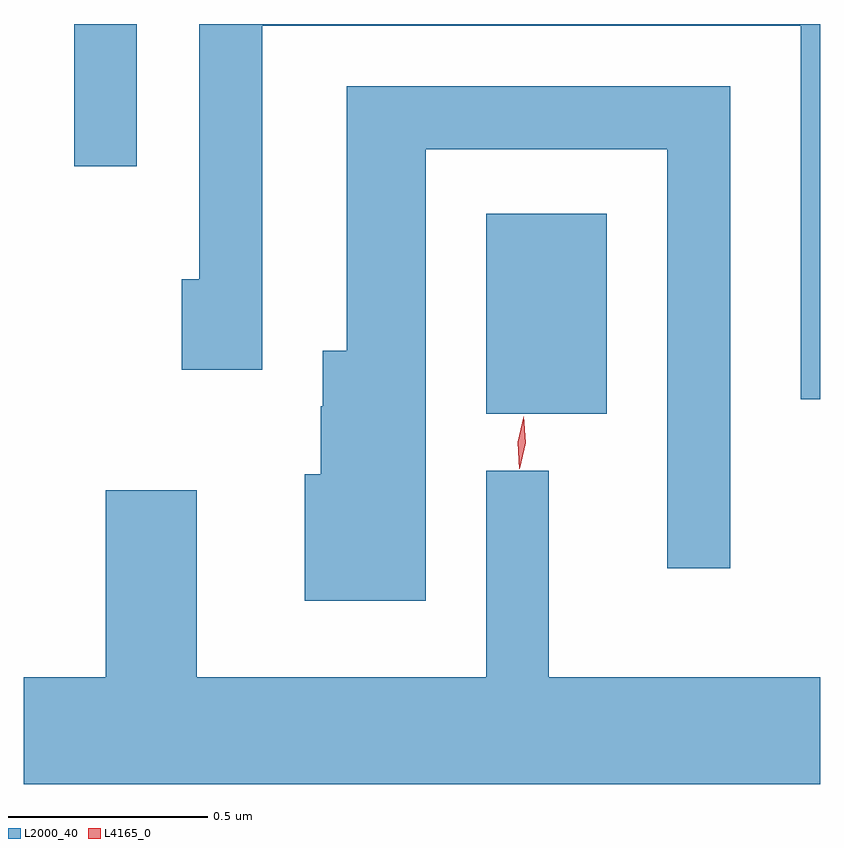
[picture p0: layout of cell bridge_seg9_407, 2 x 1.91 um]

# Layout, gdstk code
import gdstk
lib = gdstk.Library(unit=1e-6, precision=1e-09)
def R(c, l, rs):  # rectangles x0, y0, x1, y1
    for r in rs: c.add(gdstk.rectangle(r[:2], r[2:], *l))
def P(c, l, *ps):  # polygons
    for p in ps: c.add(gdstk.Polygon(p, *l))
L2000_40 = (2000, 40)
L4165_0 = (4165, 0)

bridge_seg9_407 = lib.new_cell('bridge_seg9_407')
R(bridge_seg9_407, L2000_40, [(1017.436,1957.226,1017.739,1957.729), (1016.401,1957.848,1016.559,1958.205)])
P(bridge_seg9_407, L2000_40, [(1018.275,1958.205),(1016.716,1958.205),(1016.716,1957.564),(1016.671,1957.564),(1016.671,1957.336),(1016.874,1957.336),(1016.874,1958.201),(1018.226,1958.201),(1018.226,1957.263),(1018.275,1957.263)],
  [(1017.284,1957.891),(1017.891,1957.891),(1017.891,1956.838),(1018.049,1956.838),(1018.049,1958.049),(1017.086,1958.049),(1017.086,1957.384),(1017.026,1957.384),(1017.026,1957.245),(1017.021,1957.245),(1017.021,1957.074),(1016.981,1957.074),(1016.981,1956.756),(1017.284,1956.756)],
  [(1018.275,1956.564),(1017.594,1956.564),(1017.594,1957.083),(1017.436,1957.083),(1017.436,1956.564),(1016.709,1956.564),(1016.709,1957.034),(1016.481,1957.034),(1016.481,1956.564),(1016.275,1956.564),(1016.275,1956.296),(1018.275,1956.296)])
P(bridge_seg9_407, L4165_0, [(1017.519,1957.088),(1017.515,1957.155),(1017.53,1957.22),(1017.53,1957.22),(1017.531,1957.22),(1017.535,1957.153),(1017.52,1957.088),(1017.52,1957.088)])

lib.write_gds('bridge_seg9_407.gds')
